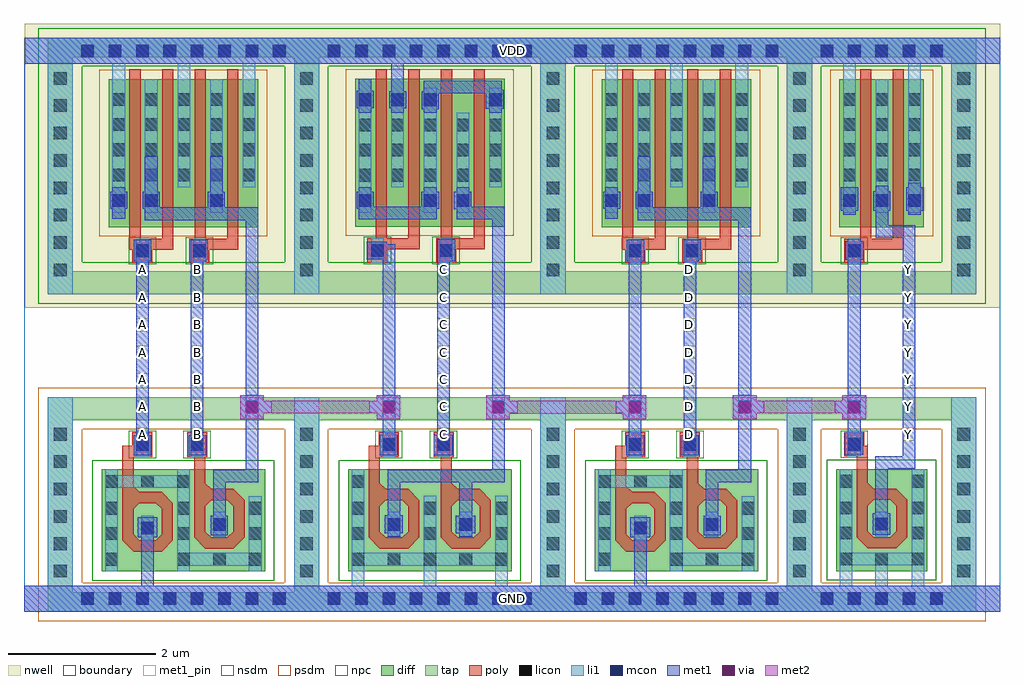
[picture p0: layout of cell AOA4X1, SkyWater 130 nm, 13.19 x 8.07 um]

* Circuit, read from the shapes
.subckt AOA4X1 A B C D GND VDD Y
XM1 n1 A GND GND sky130_fd_pr__nfet_01v8 w=2.6 l=0.1468
XM2 n1 B n2 GND sky130_fd_pr__nfet_01v8 w=2.56 l=0.1473
XM3 GND n2 n3 GND sky130_fd_pr__nfet_01v8 w=2.56 l=0.1455
XM4 GND C n3 GND sky130_fd_pr__nfet_01v8 w=2.56 l=0.147
XM5 n4 n3 GND GND sky130_fd_pr__nfet_01v8 w=2.6 l=0.1468
XM6 n4 D n5 GND sky130_fd_pr__nfet_01v8 w=2.56 l=0.1473
XM7 GND n5 Y GND sky130_fd_pr__nfet_01v8 w=2.56 l=0.149
XM8 n2 A VDD VDD sky130_fd_pr__pfet_01v8 w=2 l=0.15 m=2
XM9 n2 B VDD VDD sky130_fd_pr__pfet_01v8 w=2 l=0.15 m=2
XM10 VDD n2 n6 VDD sky130_fd_pr__pfet_01v8 w=2 l=0.15 m=2
XM11 n3 C n6 VDD sky130_fd_pr__pfet_01v8 w=2 l=0.15 m=2
XM12 n5 n3 VDD VDD sky130_fd_pr__pfet_01v8 w=2 l=0.15 m=2
XM13 n5 D VDD VDD sky130_fd_pr__pfet_01v8 w=2 l=0.15 m=2
XM14 Y n5 VDD VDD sky130_fd_pr__pfet_01v8 w=2 l=0.15 m=2
.ends

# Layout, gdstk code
from math import pi, radians
import gdstk
lib = gdstk.Library(unit=1e-6, precision=1e-09)
def R(c, l, rs):  # rectangles x0, y0, x1, y1
    for r in rs: c.add(gdstk.rectangle(r[:2], r[2:], *l))
def A(c, l, x, y, w, h, nx, ny, dx, dy):  # array of equal rectangles
    R(c, l, [(x+i*dx, y+j*dy, x+i*dx+w, y+j*dy+h) for i in range(nx) for j in range(ny)])
def P(c, l, *ps):  # polygons
    for p in ps: c.add(gdstk.Polygon(p, *l))
nwell = (64, 20)
diff = (65, 20)
tap = (65, 44)
poly = (66, 20)
licon = (66, 44)
li1 = (67, 20)
mcon = (67, 44)
met1_pin = (68, 16)
met1 = (68, 20)
via = (68, 44)
met2 = (69, 20)
nsdm = (93, 44)
psdm = (94, 20)
npc = (95, 20)
boundary = (235, 4)

li1_m1_contact = lib.new_cell('li1_M1_contact')
R(li1_m1_contact, li1, [(-0.085,-0.165,0.085,0.165)])
R(li1_m1_contact, mcon, [(-0.085,-0.085,0.085,0.085)])
R(li1_m1_contact, met1, [(-0.115,-0.115,0.115,-0.085), (-0.265,-0.085,0.145,0.085), (-0.115,0.085,0.115,0.115)])

poly_li1_contact = lib.new_cell('poly_li1_contact')
R(poly_li1_contact, poly, [(-0.16,-0.14,0.17,0.13)])
R(poly_li1_contact, licon, [(-0.08,-0.09,0.09,0.08)])
R(poly_li1_contact, li1, [(-0.16,-0.09,0.17,0.08)])
R(poly_li1_contact, npc, [(-0.18,-0.19,0.19,0.18)])

pmos2 = lib.new_cell('pmos2')
R(pmos2, nwell, [(0.26,-2.18,1.76,0.18)])
R(pmos2, diff, [(0.44,-2,1.58,0)])
R(pmos2, poly, [(0.72,-2.305,1.31,-2.155), (0.72,-2.155,0.87,0.13), (1.16,-2.155,1.31,0.13)])
A(pmos2, licon, 0.49, -1.38, 0.17, 0.17, 3, 4, 0.44, 0.34)
R(pmos2, li1, [(0.49,-1.465,0.66,0.21), (0.93,-1.465,1.1,0), (1.37,-1.465,1.54,0.21)])
R(pmos2, psdm, [(0.315,-2.125,1.705,0.125)])

nmos_top = lib.new_cell('nmos_top')
R(nmos_top, diff, [(0,0,1.23,1.38)])
R(nmos_top, poly, [(0.42,0.31,0.8,0.46), (0.27,0.46,0.42,0.965), (0.8,0.46,0.95,0.965), (0.42,0.965,0.95,1.115), (0.8,1.115,0.95,1.54)])
P(nmos_top, poly, [(0.72,1.115),(0.8,1.115),(0.8,1.195)],
  [(0.27,0.965),(0.42,0.965),(0.42,1.115)],
  [(0.42,0.885),(0.42,0.965),(0.5,0.965)],
  [(0.72,0.965),(0.8,0.965),(0.8,0.885)],
  [(0.42,0.54),(0.42,0.46),(0.5,0.46)],
  [(0.72,0.46),(0.8,0.46),(0.8,0.54)],
  [(0.27,0.46),(0.42,0.46),(0.42,0.31)],
  [(0.8,0.31),(0.8,0.46),(0.95,0.46)])
R(nmos_top, licon, [(0.04,0.08,0.21,0.25), (0.53,0.08,0.7,0.25), (1.01,0.08,1.18,0.25), (0.04,0.43,0.21,0.6), (1.01,0.43,1.18,0.6), (0.53,0.55,0.7,0.72), (0.04,0.77,0.21,0.94), (1.01,0.77,1.18,0.94), (0.04,1.13,0.21,1.3), (1.01,1.13,1.18,1.3)])
R(nmos_top, li1, [(0.04,0,0.21,0.08), (1.01,0,1.18,0.08), (0.04,0.08,1.18,0.25), (0.04,0.25,0.21,1.38), (1.01,0.25,1.18,1.38), (0.53,0.47,0.7,0.805)])
R(nmos_top, nsdm, [(-0.125,-0.125,1.355,1.505)])

diff_ring_side = lib.new_cell('diff_ring_side')
R(diff_ring_side, nwell, [(-0.435,3.93,0.435,7.75)])
R(diff_ring_side, tap, [(-0.17,-0.17,0.17,2.72), (-0.17,4.11,0.17,7.57)])
A(diff_ring_side, licon, -0.085, 0.285, 0.17, 0.17, 1, 6, 0, 0.37)
A(diff_ring_side, licon, -0.085, 4.355, 0.17, 0.17, 1, 8, 0, 0.37)
R(diff_ring_side, li1, [(-0.17,-0.17,0.17,2.72), (-0.17,4.11,0.17,7.57)])
R(diff_ring_side, met1, [(-0.17,-0.17,0.17,0.17), (-0.17,7.23,0.17,7.57)])
R(diff_ring_side, nsdm, [(-0.295,3.985,0.295,7.695)])
R(diff_ring_side, psdm, [(-0.295,-0.295,0.295,2.845)])

invx1_pcell = lib.new_cell('invx1_pcell')
R(invx1_pcell, nwell, [(-0.435,3.93,2.655,7.75)])
A(invx1_pcell, diff, 0.59, 5.295, 0.17, 0.17, 3, 1, 0.44, 0)
R(invx1_pcell, tap, [(0.17,-0.17,2.05,0.085), (0.17,2.41,2.05,2.72), (0.17,4.11,2.05,4.42), (0.17,7.315,2.05,7.57)])
R(invx1_pcell, poly, [(0.775,1.905,0.925,2.065)])
A(invx1_pcell, licon, 0.285, -0.085, 0.17, 0.17, 5, 2, 0.37, 7.4)
A(invx1_pcell, licon, 0.59, 5.295, 0.17, 0.17, 3, 1, 0.44, 0)
A(invx1_pcell, li1, 0.59, 5.215, 0.17, 0.37, 3, 1, 0.44, 0)
R(invx1_pcell, li1, [(-0.17,-0.17,2.33,0.17), (0.545,0.17,0.715,0.42), (1.025,0.17,1.195,0.45), (1.515,0.17,1.685,0.45), (1.025,0.92,1.195,1.09), (0.655,2,0.825,2.17), (0.655,4.615,0.825,4.785), (-0.17,7.23,2.39,7.57)])
A(invx1_pcell, mcon, 0.285, -0.085, 0.17, 0.17, 5, 2, 0.37, 7.4)
A(invx1_pcell, mcon, 0.59, 5.295, 0.17, 0.17, 3, 1, 0.44, 0)
R(invx1_pcell, mcon, [(1.025,0.92,1.195,1.09), (0.655,2,0.825,2.17), (0.655,4.615,0.825,4.785)])
R(invx1_pcell, met1, [(-0.17,-0.17,2.39,0.17), (0.99,0.86,1.23,1.15), (1.025,1.15,1.195,1.755), (1.025,1.755,1.565,1.925), (1.395,1.925,1.565,4.875), (0.615,1.94,0.865,2.25), (0.655,2.25,0.825,4.58), (0.62,4.58,0.87,4.83), (0.655,4.83,0.825,4.865), (1.03,4.875,1.565,5.045), (1.03,5.045,1.2,5.24), (0.59,5.185,0.76,5.24), (1.47,5.185,1.64,5.24), (0.56,5.24,0.795,5.555), (1,5.24,1.23,5.505), (1.44,5.24,1.675,5.555), (1.03,5.505,1.2,5.575), (1.47,5.555,1.64,5.62), (-0.17,7.23,2.39,7.57)])
R(invx1_pcell, nsdm, [(0.045,3.985,2.175,4.545), (0.045,7.19,2.175,7.695)])
R(invx1_pcell, psdm, [(0.045,-0.295,2.175,0.21), (0.045,2.285,2.175,2.845), (0.465,5.17,1.765,5.59)])
invx1_pcell.add(gdstk.Reference(poly_li1_contact, (0.735,2.08), rotation=pi/2))
invx1_pcell.add(gdstk.Reference(poly_li1_contact, (0.745,4.705), rotation=3*pi/2))
invx1_pcell.add(gdstk.Reference(pmos2, (0.1,7.02)))
invx1_pcell.add(gdstk.Reference(nmos_top, (1.725,0.37), rotation=pi, x_reflection=True))
invx1_pcell.add(gdstk.Reference(diff_ring_side, (0,0)))
invx1_pcell.add(gdstk.Reference(diff_ring_side, (2.22,0)))

nmos_top_trim1 = lib.new_cell('nmos_top_trim1')
R(nmos_top_trim1, diff, [(0,0,1.24,1.38)])
R(nmos_top_trim1, poly, [(0.43,0.31,0.81,0.46), (0.28,0.46,0.43,0.965), (0.81,0.46,0.96,0.965), (0.43,0.965,0.96,1.115), (0.81,1.115,0.96,1.545)])
P(nmos_top_trim1, poly, [(0.73,1.115),(0.81,1.115),(0.81,1.195)],
  [(0.28,0.965),(0.43,0.965),(0.43,1.115)],
  [(0.43,0.885),(0.43,0.965),(0.51,0.965)],
  [(0.73,0.965),(0.81,0.965),(0.81,0.885)],
  [(0.43,0.54),(0.43,0.46),(0.51,0.46)],
  [(0.73,0.46),(0.81,0.46),(0.81,0.54)],
  [(0.28,0.46),(0.43,0.46),(0.43,0.31)],
  [(0.81,0.31),(0.81,0.46),(0.96,0.46)])
A(nmos_top_trim1, licon, 0.05, 0.08, 0.17, 0.17, 3, 1, 0.485, 0)
R(nmos_top_trim1, licon, [(0.05,0.43,0.22,0.6), (1.02,0.43,1.19,0.6), (0.535,0.55,0.705,0.72), (0.05,0.77,0.22,0.94), (1.02,0.77,1.19,0.94), (1.02,1.13,1.19,1.3)])
R(nmos_top_trim1, li1, [(0.05,0,0.22,0.08), (1.02,0,1.19,0.08), (0.05,0.08,1.19,0.25), (0.05,0.25,0.22,1.02), (1.02,0.25,1.19,1.38), (0.535,0.47,0.705,0.805)])
R(nmos_top_trim1, nsdm, [(-0.125,-0.125,1.365,1.505)])

pmos2_1 = lib.new_cell('pmos2_1')
R(pmos2_1, nwell, [(0.26,-2.175,1.76,0.185)])
R(pmos2_1, diff, [(0.44,-1.995,1.58,0.005)])
R(pmos2_1, poly, [(0.72,-2.3,1.31,-2.15), (0.72,-2.15,0.87,0.135), (1.16,-2.15,1.31,0.135)])
A(pmos2_1, licon, 0.49, -1.385, 0.17, 0.17, 3, 3, 0.44, 0.34)
A(pmos2_1, li1, 0.49, -1.465, 0.17, 1.01, 3, 1, 0.44, 0)
R(pmos2_1, psdm, [(0.315,-2.12,1.705,0.13)])

nmos_top_trim2 = lib.new_cell('nmos_top_trim2')
R(nmos_top_trim2, diff, [(0,0,1.24,1.38)])
R(nmos_top_trim2, poly, [(0.43,0.31,0.81,0.46), (0.28,0.46,0.43,0.89), (0.81,0.46,0.96,0.89), (0.28,0.89,0.435,0.965), (0.805,0.89,0.96,0.965), (0.43,0.965,0.96,1.115), (0.81,1.115,0.96,1.545)])
P(nmos_top_trim2, poly, [(0.73,1.115),(0.81,1.115),(0.81,1.195)],
  [(0.28,0.965),(0.43,0.965),(0.43,1.115)],
  [(0.435,0.89),(0.435,0.965),(0.51,0.965)],
  [(0.73,0.965),(0.805,0.965),(0.805,0.89)],
  [(0.43,0.54),(0.43,0.46),(0.51,0.46)],
  [(0.73,0.46),(0.81,0.46),(0.81,0.54)],
  [(0.28,0.46),(0.43,0.46),(0.43,0.31)],
  [(0.81,0.31),(0.81,0.46),(0.96,0.46)])
A(nmos_top_trim2, licon, 0.05, 0.08, 0.17, 0.17, 3, 1, 0.485, 0)
R(nmos_top_trim2, licon, [(0.05,0.43,0.22,0.6), (1.02,0.43,1.19,0.6), (0.535,0.55,0.705,0.72), (0.05,0.77,0.22,0.94), (1.02,0.77,1.19,0.94)])
R(nmos_top_trim2, li1, [(0.05,0,0.22,0.08), (1.02,0,1.19,0.08), (0.05,0.08,1.19,0.25), (0.05,0.25,0.22,1.025), (1.02,0.25,1.19,1.025), (0.535,0.47,0.705,0.805)])
R(nmos_top_trim2, nsdm, [(-0.125,-0.125,1.365,1.505)])

nor2x1_pcell = lib.new_cell('nor2x1_pcell')
R(nor2x1_pcell, nwell, [(0.435,3.93,2.895,7.75)])
A(nor2x1_pcell, diff, 0.705, 6.655, 0.17, 0.17, 3, 1, 0.44, 0)
R(nor2x1_pcell, diff, [(0.705,5.215,0.875,5.465), (1.585,5.215,1.755,5.25), (2.025,5.215,2.195,5.25), (1.585,5.295,1.755,5.465), (2.025,5.295,2.195,5.465), (2.465,6.655,2.635,6.825)])
R(nor2x1_pcell, tap, [(0.17,-0.17,3.16,0.085), (0.17,2.41,3.16,2.72), (0.17,4.11,3.16,4.42), (0.17,7.315,3.16,7.57)])
R(nor2x1_pcell, poly, [(0.84,1.875,0.99,2.065), (1.81,1.91,1.96,1.915)])
A(nor2x1_pcell, licon, 0.285, -0.085, 0.17, 0.17, 8, 2, 0.37, 7.4)
A(nor2x1_pcell, licon, 0.705, 6.655, 0.17, 0.17, 3, 1, 0.44, 0)
R(nor2x1_pcell, licon, [(0.705,5.295,0.875,5.465), (1.585,5.295,1.755,5.465), (2.025,5.295,2.195,5.465), (2.465,6.655,2.635,6.825)])
R(nor2x1_pcell, li1, [(0.165,-0.17,3.285,0.17), (0.61,0.17,0.78,0.785), (1.58,0.17,1.75,0.445), (2.55,0.17,2.72,0.445), (1.095,0.915,1.265,1.085), (2.065,0.915,2.235,1.085), (1.025,1.995,1.195,2.165), (1.765,1.995,1.935,2.165), (0.87,4.62,1.04,4.79), (1.8,4.62,1.97,4.79), (0.705,5.215,0.875,5.975), (1.585,5.215,1.755,5.975), (2.025,5.215,2.195,5.975), (1.145,6.145,1.315,7.025), (1.585,6.145,1.755,6.905), (2.465,6.145,2.635,6.905), (0.705,6.56,0.875,7.025), (-0.17,7.23,3.335,7.57)])
A(nor2x1_pcell, mcon, 0.285, -0.085, 0.17, 0.17, 8, 2, 0.37, 7.4)
A(nor2x1_pcell, mcon, 0.705, 6.655, 0.17, 0.17, 3, 1, 0.44, 0)
R(nor2x1_pcell, mcon, [(1.095,0.915,1.265,1.085), (2.065,0.915,2.235,1.085), (1.025,1.995,1.195,2.165), (1.765,1.995,1.935,2.165), (0.87,4.62,1.04,4.79), (1.8,4.62,1.97,4.79), (0.705,5.295,0.875,5.465), (1.585,5.295,1.755,5.465), (2.025,5.295,2.195,5.465), (2.465,6.655,2.635,6.825)])
R(nor2x1_pcell, met1, [(0.17,-0.17,3.16,0.17), (1.095,0.835,1.265,0.885), (2.065,0.835,2.235,0.88), (2.015,0.88,2.28,1.12), (1.055,0.885,1.3,1.125), (2.065,1.12,2.235,1.57), (1.095,1.125,1.265,1.57), (1.095,1.57,2.675,1.74), (2.505,1.74,2.675,5.125), (0.985,1.935,1.23,2.215), (1.72,1.935,1.975,2.215), (1.025,2.215,1.195,4.585), (1.765,2.215,1.935,4.56), (1.765,4.56,2.005,4.855), (0.81,4.585,1.195,4.79), (0.81,4.79,1.085,4.82), (0.705,5.125,1.755,5.265), (2.025,5.125,2.675,5.26), (1.985,5.26,2.675,5.295), (0.675,5.265,1.79,5.295), (0.675,5.295,0.905,5.5), (1.55,5.295,1.79,5.495), (1.985,5.295,2.225,5.495), (1.585,5.495,1.755,5.555), (2.025,5.495,2.195,5.555), (0.705,5.5,0.875,5.555), (0.705,6.565,0.875,6.625), (1.145,6.565,1.315,6.625), (1.585,6.565,1.755,6.615), (2.465,6.565,2.635,6.62), (1.555,6.615,1.785,6.825), (2.42,6.62,2.665,6.825), (0.675,6.625,0.905,6.86), (1.115,6.625,1.345,6.855), (1.555,6.825,2.665,6.855), (1.145,6.855,1.315,7.23), (1.585,6.855,2.665,6.875), (0.705,6.86,0.875,7.025), (1.585,6.875,2.635,6.995), (0.17,7.23,3.16,7.57)])
R(nor2x1_pcell, nsdm, [(0.045,3.985,3.285,4.545), (0.045,7.19,3.285,7.695)])
R(nor2x1_pcell, psdm, [(0.045,-0.295,3.285,0.21), (0.045,2.285,3.285,2.845), (0.58,5.09,1,5.59), (1.46,5.09,2.32,5.59), (0.58,6.53,1.88,6.95), (2.34,6.53,2.76,6.95)])
nor2x1_pcell.add(gdstk.Reference(diff_ring_side, (0,0)))
nor2x1_pcell.add(gdstk.Reference(nmos_top_trim1, (1.8,0.365), rotation=pi, x_reflection=True))
nor2x1_pcell.add(gdstk.Reference(pmos2_1, (0.215,7.02)))
nor2x1_pcell.add(gdstk.Reference(poly_li1_contact, (0.96,4.71), rotation=3*pi/2))
nor2x1_pcell.add(gdstk.Reference(poly_li1_contact, (1.115,2.085), rotation=3*pi/2))
nor2x1_pcell.add(gdstk.Reference(nmos_top_trim2, (2.77,0.365), rotation=pi, x_reflection=True))
nor2x1_pcell.add(gdstk.Reference(pmos2_1, (1.095,7.02)))
nor2x1_pcell.add(gdstk.Reference(poly_li1_contact, (1.845,2.075), rotation=pi/2))
nor2x1_pcell.add(gdstk.Reference(poly_li1_contact, (1.89,4.71), rotation=3*pi/2))
nor2x1_pcell.add(gdstk.Reference(diff_ring_side, (3.33,0)))

nmos_bottom = lib.new_cell('nmos_bottom')
R(nmos_bottom, diff, [(0,0,1.24,1.38)])
R(nmos_bottom, poly, [(0.43,0.27,0.81,0.42), (0.28,0.42,0.43,0.925), (0.81,0.42,0.96,0.925), (0.43,0.925,0.96,1.075), (0.81,1.075,0.96,1.51)])
P(nmos_bottom, poly, [(0.73,1.075),(0.81,1.075),(0.81,1.155)],
  [(0.28,0.925),(0.43,0.925),(0.43,1.075)],
  [(0.43,0.845),(0.43,0.925),(0.51,0.925)],
  [(0.73,0.925),(0.81,0.925),(0.81,0.845)],
  [(0.43,0.5),(0.43,0.42),(0.51,0.42)],
  [(0.73,0.42),(0.81,0.42),(0.81,0.5)],
  [(0.28,0.42),(0.43,0.42),(0.43,0.27)],
  [(0.81,0.27),(0.81,0.42),(0.96,0.42)])
A(nmos_bottom, licon, 0.05, 1.13, 0.17, 0.17, 3, 1, 0.485, 0)
R(nmos_bottom, licon, [(0.05,0.08,0.22,0.25), (1.02,0.08,1.19,0.25), (0.05,0.43,0.22,0.6), (1.02,0.43,1.19,0.6), (0.535,0.505,0.705,0.675), (0.05,0.77,0.22,0.94), (1.02,0.77,1.19,0.94)])
R(nmos_bottom, li1, [(0.05,0,0.22,1.13), (1.02,0,1.19,1.13), (0.535,0.425,0.705,0.755), (0.05,1.13,1.19,1.3), (0.05,1.3,0.22,1.38), (1.02,1.3,1.19,1.38)])
R(nmos_bottom, nsdm, [(-0.125,-0.125,1.365,1.505)])

nand2x1_pcell = lib.new_cell('nand2x1_pcell')
R(nand2x1_pcell, nwell, [(0.435,3.93,2.895,7.75)])
R(nand2x1_pcell, diff, [(1.115,5.265,1.345,5.5), (1.995,5.265,2.225,5.5), (0.705,5.295,0.875,5.465)])
R(nand2x1_pcell, tap, [(0.17,-0.17,3.16,-0.15), (0.155,-0.15,3.175,0.085), (0.155,2.4,0.17,2.41), (3.16,2.4,3.175,2.41), (0.155,2.41,3.175,2.71), (0.17,2.71,3.16,2.72), (0.17,4.11,3.16,4.42), (0.17,7.315,3.16,7.57)])
R(nand2x1_pcell, poly, [(0.84,1.875,0.99,2.065), (1.81,1.91,1.96,1.915)])
A(nand2x1_pcell, licon, 0.285, -0.085, 0.17, 0.17, 8, 2, 0.37, 7.4)
R(nand2x1_pcell, licon, [(0.705,5.295,0.875,5.465), (1.145,5.295,1.315,5.465), (2.025,5.295,2.195,5.465)])
R(nand2x1_pcell, li1, [(0.165,-0.17,3.295,0.17), (1.095,0.87,1.265,1.04), (2.065,0.915,2.235,1.085), (1.025,1.995,1.195,2.165), (1.765,1.995,1.935,2.165), (1.025,4.615,1.195,4.785), (1.795,4.615,1.965,4.785), (0.705,5.215,0.875,5.61), (1.145,5.215,1.315,5.61), (2.025,5.215,2.195,5.61), (-0.17,7.23,3.17,7.57)])
A(nand2x1_pcell, mcon, 0.285, -0.085, 0.17, 0.17, 8, 2, 0.37, 7.4)
R(nand2x1_pcell, mcon, [(1.095,0.87,1.265,1.04), (2.065,0.915,2.235,1.085), (1.025,1.995,1.195,2.165), (1.765,1.995,1.935,2.165), (1.025,4.615,1.195,4.785), (1.795,4.615,1.965,4.785), (0.705,5.295,0.875,5.465), (1.145,5.295,1.315,5.465), (2.025,5.295,2.195,5.465)])
R(nand2x1_pcell, met1, [(-0.17,-0.17,3.5,0.17), (1.095,0.17,1.265,0.825), (1.045,0.825,1.31,1.1), (2.035,0.855,2.265,1.12), (2.065,1.12,2.235,1.57), (2.065,1.57,2.675,1.74), (2.505,1.74,2.675,5.115), (0.99,1.935,1.23,2.205), (1.735,1.935,1.97,2.205), (1.025,2.205,1.195,4.56), (1.765,2.205,1.935,4.555), (1.765,4.555,1.97,4.58), (0.995,4.56,1.23,4.845), (1.765,4.58,1.995,4.845), (1.145,5.115,2.675,5.265), (0.705,5.135,0.875,5.265), (0.675,5.265,0.905,5.5), (1.115,5.265,2.675,5.285), (1.115,5.285,1.345,5.5), (1.995,5.285,2.225,5.5), (0.705,5.5,0.875,5.555), (1.145,5.5,1.315,5.98), (2.025,5.5,2.195,5.98), (-0.17,7.23,3.5,7.57)])
R(nand2x1_pcell, nsdm, [(0.045,3.985,3.285,4.545), (0.045,7.19,3.285,7.695)])
R(nand2x1_pcell, psdm, [(0.045,-0.295,3.285,-0.275), (0.03,-0.275,3.3,0.21), (0.03,2.275,0.295,2.285), (3.035,2.275,3.3,2.285), (0.03,2.285,3.3,2.835), (0.045,2.835,3.285,2.845), (0.99,5.14,1.47,5.17), (1.87,5.14,2.35,5.625), (0.58,5.17,1.47,5.59), (0.99,5.59,1.47,5.625)])
nand2x1_pcell.add(gdstk.Reference(diff_ring_side, (0,0)))
nand2x1_pcell.add(gdstk.Reference(nmos_bottom, (1.8,0.365), rotation=pi, x_reflection=True))
nand2x1_pcell.add(gdstk.Reference(pmos2, (0.215,7.02)))
nand2x1_pcell.add(gdstk.Reference(poly_li1_contact, (1.115,4.705), rotation=3*pi/2))
nand2x1_pcell.add(gdstk.Reference(poly_li1_contact, (1.115,2.085), rotation=3*pi/2))
nand2x1_pcell.add(gdstk.Reference(nmos_top_trim1, (2.77,0.365), rotation=pi, x_reflection=True))
nand2x1_pcell.add(gdstk.Reference(pmos2, (1.095,7.02)))
nand2x1_pcell.add(gdstk.Reference(poly_li1_contact, (1.845,2.075), rotation=pi/2))
nand2x1_pcell.add(gdstk.Reference(poly_li1_contact, (1.885,4.705), rotation=3*pi/2))
nand2x1_pcell.add(gdstk.Reference(diff_ring_side, (3.33,0)))

aoai4x1_pcell = lib.new_cell('aoai4x1_pcell')
R(aoai4x1_pcell, met1, [(2.43,2.425,2.75,2.745), (4.275,2.425,4.595,2.745), (5.755,2.425,6.075,2.745), (7.6,2.425,7.92,2.745)])
R(aoai4x1_pcell, via, [(2.515,2.51,2.665,2.66), (4.36,2.51,4.51,2.66), (5.84,2.51,5.99,2.66), (7.685,2.51,7.835,2.66)])
R(aoai4x1_pcell, met2, [(2.43,2.425,2.75,2.505), (4.275,2.425,4.595,2.505), (5.755,2.425,6.075,2.5), (7.6,2.425,7.92,2.5), (5.755,2.5,7.92,2.675), (2.43,2.505,4.595,2.675), (2.43,2.675,2.75,2.745), (4.275,2.675,4.595,2.745), (5.755,2.675,6.075,2.745), (7.6,2.675,7.92,2.745)])
aoai4x1_pcell.add(gdstk.Reference(nor2x1_pcell, (3.33,0)))
aoai4x1_pcell.add(gdstk.Reference(nand2x1_pcell, (6.66,0)))
aoai4x1_pcell.add(gdstk.Reference(nand2x1_pcell, (0,0)))
aoai4x1_pcell.add(gdstk.Reference(li1_m1_contact, (7.77,2.59)))
aoai4x1_pcell.add(gdstk.Reference(li1_m1_contact, (5.92,2.59), rotation=pi))
aoai4x1_pcell.add(gdstk.Reference(li1_m1_contact, (4.44,2.59)))
aoai4x1_pcell.add(gdstk.Reference(li1_m1_contact, (2.59,2.59), rotation=pi))

aoa4x1_pcell = lib.new_cell('aoa4x1_pcell')
R(aoa4x1_pcell, met1, [(9.09,2.425,9.41,2.745), (10.57,2.425,10.89,2.745)])
R(aoa4x1_pcell, via, [(9.175,2.51,9.325,2.66), (10.655,2.51,10.805,2.66)])
R(aoa4x1_pcell, met2, [(9.09,2.425,9.41,2.505), (10.57,2.425,10.89,2.505), (9.09,2.505,10.89,2.675), (9.09,2.675,9.41,2.745), (10.57,2.675,10.89,2.745)])
aoa4x1_pcell.add(gdstk.Reference(li1_m1_contact, (10.73,2.59)))
aoa4x1_pcell.add(gdstk.Reference(li1_m1_contact, (9.25,2.59), rotation=pi))
aoa4x1_pcell.add(gdstk.Reference(invx1_pcell, (9.99,0)))
aoa4x1_pcell.add(gdstk.Reference(aoai4x1_pcell, (0,0)))

aoa4x1 = lib.new_cell('AOA4X1')
R(aoa4x1, nwell, [(0.01,4.11,0.06,7.93), (13.135,4.11,13.19,7.93), (0.775,7.495,0.945,7.665), (0.01,7.93,13.19,7.945)])
R(aoa4x1, tap, [(0.32,0,12.87,0.01), (0.32,7.41,0.33,7.75), (0.32,7.75,12.87,7.76)])
R(aoa4x1, li1, [(0,0,13.19,0.35), (0.01,7.41,13.19,7.76)])
A(aoa4x1, met1_pin, 1.515, 2.315, 0.17, 0.17, 1, 7, 0, 0.37)
A(aoa4x1, met1_pin, 2.255, 2.315, 0.17, 0.17, 3, 7, 3.33, 0.37)
A(aoa4x1, met1_pin, 11.875, 2.315, 0.17, 0.17, 1, 7, 0, 0.37)
R(aoa4x1, met1_pin, [(0,0,13.19,0.35), (0,7.41,13.19,7.76)])
A(aoa4x1, met1, 1.515, 2.315, 0.17, 0.17, 1, 7, 0, 0.37)
A(aoa4x1, met1, 2.255, 2.315, 0.17, 0.17, 3, 7, 3.33, 0.37)
A(aoa4x1, met1, 11.875, 2.315, 0.17, 0.17, 1, 7, 0, 0.37)
R(aoa4x1, met1, [(0,0,13.19,0.35), (0.01,7.41,13.19,7.76)])
R(aoa4x1, nsdm, [(0.195,7.285,0.455,7.625), (0.195,7.625,12.995,7.885)])
R(aoa4x1, psdm, [(0.195,-0.125,12.995,0.135)])
R(aoa4x1, boundary, [(0,0,13.19,7.76)])
aoa4x1.add(gdstk.Reference(aoa4x1_pcell, (0.49,0.18)))
aoa4x1.add(gdstk.Label('Y', (11.96,4.62), layer=68, texttype=5))
aoa4x1.add(gdstk.Label('Y', (11.96,4.25), layer=68, texttype=5))
aoa4x1.add(gdstk.Label('Y', (11.96,3.88), layer=68, texttype=5))
aoa4x1.add(gdstk.Label('Y', (11.96,3.51), layer=68, texttype=5))
aoa4x1.add(gdstk.Label('Y', (11.96,2.4), layer=68, texttype=5))
aoa4x1.add(gdstk.Label('Y', (11.96,2.77), layer=68, texttype=5))
aoa4x1.add(gdstk.Label('Y', (11.96,3.14), layer=68, texttype=5))
aoa4x1.add(gdstk.Label('A', (1.6,4.62), layer=68, texttype=5))
aoa4x1.add(gdstk.Label('A', (1.6,4.25), layer=68, texttype=5))
aoa4x1.add(gdstk.Label('A', (1.6,3.88), layer=68, texttype=5))
aoa4x1.add(gdstk.Label('A', (1.6,3.51), layer=68, texttype=5))
aoa4x1.add(gdstk.Label('A', (1.6,2.4), layer=68, texttype=5))
aoa4x1.add(gdstk.Label('A', (1.6,2.77), layer=68, texttype=5))
aoa4x1.add(gdstk.Label('A', (1.6,3.14), layer=68, texttype=5))
aoa4x1.add(gdstk.Label('B', (2.34,2.4), layer=68, texttype=5))
aoa4x1.add(gdstk.Label('B', (2.34,2.77), layer=68, texttype=5))
aoa4x1.add(gdstk.Label('B', (2.34,3.14), layer=68, texttype=5))
aoa4x1.add(gdstk.Label('B', (2.34,4.25), layer=68, texttype=5))
aoa4x1.add(gdstk.Label('B', (2.34,4.62), layer=68, texttype=5))
aoa4x1.add(gdstk.Label('B', (2.34,3.88), layer=68, texttype=5))
aoa4x1.add(gdstk.Label('B', (2.34,3.51), layer=68, texttype=5))
aoa4x1.add(gdstk.Label('C', (5.67,2.4), layer=68, texttype=5))
aoa4x1.add(gdstk.Label('C', (5.67,2.77), layer=68, texttype=5))
aoa4x1.add(gdstk.Label('C', (5.67,3.14), layer=68, texttype=5))
aoa4x1.add(gdstk.Label('C', (5.67,3.51), layer=68, texttype=5))
aoa4x1.add(gdstk.Label('C', (5.67,4.62), layer=68, texttype=5))
aoa4x1.add(gdstk.Label('C', (5.67,4.25), layer=68, texttype=5))
aoa4x1.add(gdstk.Label('C', (5.67,3.88), layer=68, texttype=5))
aoa4x1.add(gdstk.Label('D', (9,4.62), layer=68, texttype=5))
aoa4x1.add(gdstk.Label('D', (9,2.4), layer=68, texttype=5))
aoa4x1.add(gdstk.Label('D', (9,2.77), layer=68, texttype=5))
aoa4x1.add(gdstk.Label('D', (9,3.14), layer=68, texttype=5))
aoa4x1.add(gdstk.Label('D', (9,3.51), layer=68, texttype=5))
aoa4x1.add(gdstk.Label('D', (9,3.88), layer=68, texttype=5))
aoa4x1.add(gdstk.Label('D', (9,4.25), layer=68, texttype=5))
aoa4x1.add(gdstk.Label('VDD', (6.595,7.585), layer=68, texttype=5))
aoa4x1.add(gdstk.Label('GND', (6.595,0.175), layer=68, texttype=5))

lib.write_gds('AOA4X1.gds')
